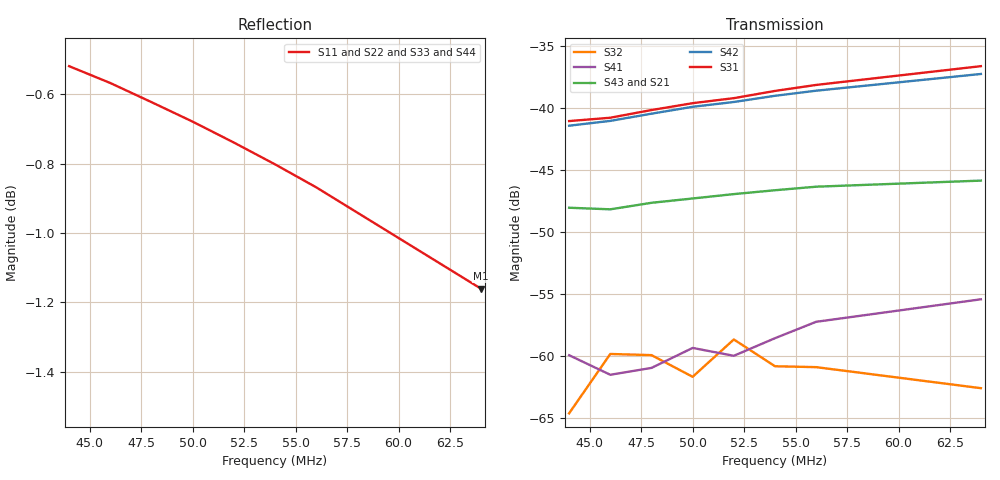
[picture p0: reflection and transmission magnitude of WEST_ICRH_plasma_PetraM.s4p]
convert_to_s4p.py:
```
# -*- coding: utf-8 -*-
"""
Transform the data from Matthew Poulos to skrf Network 
and save the data to a .s4p

also renumber the ports from


to :
    

@author: JH218595
"""
import numpy as np
import skrf as rf

freqs = 44, 46, 48, 50, 52, 54, 56, 64

s = np.array([
[[0.10306623382976188+0.9362827693505921j,
-0.0033077697136587947+0.001207223864262811j,
-0.00901448467051647+0.0010342433732492009j,
0.0011238060301676674-0.0004686267744629394j],
[-0.0038791456392482126+0.0006122519620864837j,
0.09940932941799516+0.9371526856173245j,
3.311151983388873e-05-0.00028803149144998553j,
-0.008653072256978537+0.0005245331077326936j],
[-0.008807137836337292+0.0010868415483368226j,
-0.0002722894025221511-0.0005202037254689065j,
0.1002602148124282+0.9364247463007395j,
-0.0033792566985963025+0.001222675696078806j],
[0.0009967994056500013-0.00014542129544378116j,
-0.008480008347233708+0.0005863683943201266j,
-0.003926970943646781+0.0005584146540703849j,
0.10203037148246516+0.9369606926276788j]], 
     [[0.03548604748379209+0.9360201088632061j,
-0.0033524050985618056+0.0005849128906480319j,
 -0.00936460367705241+1.9492200035470805e-05j,
0.0006951076610323441-2.6564926142897465e-05j],
[-0.0039012514569133445+0.00021988990298935107j,
0.03176637968540171+0.9365214455145403j,
-0.0004722150093736199-6.737235382193695e-05j,
-0.009040340248629338-0.0003871628471940302j],
[-0.009152446838907249+0.00014836299555654866j,
-0.0010040887576918624-0.00017473469196050548j,
0.032617549613970266+0.9358622953259773j,
-0.0033820241144343604+0.0005756149375179742j],
[0.0008370835413790198+7.124309818854754e-05j,
-0.008884040388421346-0.0003006944831304127j,
-0.0039020872109352014+0.0002131177615816217j,
0.03436898642367637+0.9365881971039101j]],
     [[-0.03205308721841798+0.9302195435372731j,
-0.0036406135750581643+0.0004600274862158804j,
-0.01001029179980915-0.0006316445715763025j,
0.0008541828393849073-0.0002491663432146605j],
[-0.0041312257684202715-6.525743775220565e-05j,
-0.035952752460549374+0.9305901648750191j,
-0.0003600449784243366-0.0003113755529545523j,
-0.009603854603296557-0.0010903482890787203j],
[-0.00981830591134959-0.0005069465325308464j,
-0.0007834277764057564-0.0006345454765289362j,
-0.0349356215865685+0.929946218361455j,
-0.0036756040725921353+0.0004779129919494514j],
[0.0008950424280516555-1.7939382923829312e-05j,
-0.009450217823860135-0.0010021610727370279j,
-0.004151714514241797-4.906677640058192e-05j,
-0.03329966064159599+0.9307418879559434j]],
     [[-0.09922825500116397+0.9194308429229794j,
-0.003806143824741715-2.5894370894704014e-05j,
-0.010552877138398814-0.0017752693715757332j,
0.0010228279605812636+9.485658381916962e-05j],
[-0.004245698080472457-0.0004882276056610946j,
-0.10338323999490796+0.9195168587716811j,
-0.0003234622869914084-0.00017190775392005066j,
-0.010071206713857153-0.002186220484661762j],
[-0.010358911586178025-0.0015910470680656958j,
-0.0007380870013331697-0.0003672032859388213j,
-0.10225759990420434+0.9189791918398243j,
-0.0038721864569115968-2.5088385603363873e-05j],
[0.0010653428256420887+0.00016398231030704624j,
-0.009920297245547076-0.0020602097514950605j,
-0.004295054194378783-0.0004855180560759876j,
-0.10060142177657524+0.9198813294225298j]],
     [[-0.1657553644509124+0.9033061109431264j,
-0.0038818435397758896-0.00020802275956712148j,
-0.010835328768341776-0.0026853027378182766j,
0.000856779524074514+3.399758986209127e-05j],
[-0.0043562340858039-0.0008289483308629296j,
-0.17006957114267332+0.9030217144009475j,
-0.0003868365357267479-0.0003270441233105128j,
-0.010278755282567508-0.0031619975399619416j],
[-0.010689068067783707-0.0025056557900391264j,
-0.000871298889192824-0.0007752370719971486j,
-0.16877095803699768+0.902546772497637j,
-0.003974885979325136-0.00021713053758058132j],
[0.0009657124052357103+0.00026713790929336947j,
-0.010149644074467092-0.0030389924901156043j,
-0.004416648944113895-0.0008715482518309309j,
-0.16729274045414103+0.9036625038363473j]],
     [[-0.2310718410382077+0.8820043739968823j,
-0.004093960124234218-0.0006200526148463913j,
-0.011343720574743305-0.00380507852839363j,
0.0012076544278002339+3.084717397920491e-05j],
[-0.004443455444908074-0.0012566468770991125j,
-0.23547547483796424+0.8813531198707243j,
-0.00023075080632371545-0.0003538587625655057j,
-0.010570792158330594-0.004270921123173072j],
[-0.011172157789000195-0.0036138439937617194j,
-0.00047002494816276525-0.000778364995629136j,
-0.2340239335746556+0.8810826010702554j,
-0.004226161586926116-0.0007078803042590007j],
[0.0011546986590566055+0.0002433588545568736j,
-0.010438673509026941-0.00412053628808381j,
-0.004469174108401341-0.0013422735612400026j,
-0.23273266174662932+0.8821995621215281j]],
     [[-0.2948260805818151+0.8554721446445313j,
-0.004130405281188439-0.0009319792373357285j,
-0.011515690327910088-0.00518609391682273j,
0.0012296652693744138+0.0004081614221741193j],
[-0.004517120588551889-0.0016942286825343818j,
-0.2993051137408766+0.854371901527771j,
-0.0001867075342564552-0.00030084708892288335j,
-0.010572970648598847-0.005499479784349751j],
[-0.011373022136665373-0.004979395426629645j,
-0.0005352724486872493-0.0007256476021705949j,
-0.29779912372875816+0.854322095395929j,
-0.004192827588292094-0.001123964515874762j],
[0.001242643164079918+0.0005869968923126671j,
-0.010473527893140029-0.005363656941458679j,
-0.004479846073671697-0.001785930422716868j,
-0.29662187806791745+0.8555213595473691j]],
     [[-0.5252121854452944+0.6997681177545608j,
-0.0039394710873457105-0.0029275591544705476j,
-0.01038405040617585-0.01095708106340377j,
0.0008491513405692433+0.001034687804889071j],
[-0.0037358328298869-0.0035862143040688707j,
-0.5291050648278515+0.6969645167337252j,
-0.00026590126073295636+9.483491547973723e-05j,
-0.009386605873037844-0.010457395437579736j],
[-0.01035140658376791-0.01054907952578932j,
-0.0005116494908328424-0.0005369661364062307j,
-0.5279365678098452+0.6976438682905035j,
-0.0036098732175834218-0.002981148168492409j],
[0.0009803917266615497+0.0013812995949215557j,
-0.009284295781431025-0.010136129335480276j,
-0.00358683478046693-0.0036300600289364006j,
-0.527141891342112+0.6985804046048265j]]
     ])

freqs = rf.Frequency.from_f(freqs, unit='MHz')
ntw = rf.Network(frequency=freqs)
ntw.s = s

# define z0
ntw.z0 = 46.6

# export .s4p
ntw.write_touchstone('WEST_ICRH_plasma_PetraM.s4p', write_z0=True)
```
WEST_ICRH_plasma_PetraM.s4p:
!Created with skrf (http://scikit-rf.org).
# MHz S RI R 46.6
!freq ReS11 ImS11 ReS12 ImS12 ReS13 ImS13
! ReS14 ImS14
! ReS21 ImS21 ReS22 ImS22 ReS23 ImS23
! ReS24 ImS24
! ReS31 ImS31 ReS32 ImS32 ReS33 ImS33
! ReS34 ImS34
! ReS41 ImS41 ReS42 ImS42 ReS43 ImS43
! ReS44 ImS44
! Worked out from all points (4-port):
!   8 points, 44 MHz to 64 MHz, reference 46.6 ohm
!   strongest paths, dB at 44 MHz, 48 MHz, 52 MHz, 56 MHz, 64 MHz:
!     S31: -41.0, -40.1, -39.2, -38.1, -36.6
!     S42: -41.4, -40.4, -39.5, -38.6, -37.2
!     S43: -48.0, -47.6, -46.9, -46.3, -45.8
!     S21: -48.1, -47.7, -47.1, -46.3, -45.7
!     S41: -59.9, -61.0, -60.0, -57.2, -55.4
!     S32: -64.6, -59.9, -58.7, -60.9, -62.6
!   lowest |S11| = -1.2 dB at 64 MHz (marker M1), VSWR 14.99, Z = 3.88 + j23.2 ohm
!   |S11| at or under -10 dB: nowhere
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44  0.1031 0.9363  -0.00331 0.00121  -0.00901 0.00103  0.00112 -0.000469
    -0.00388 0.000612  0.0994 0.9372  3.31e-05 -0.000288  -0.00865 0.000525
    -0.00881 0.00109  -0.000272 -0.00052  0.1003 0.9364  -0.00338 0.00122
    0.000997 -0.000145  -0.00848 0.000586  -0.00393 0.000558  0.102 0.937
52  -0.1658 0.9033  -0.00388 -0.000208  -0.0108 -0.00269  0.000857 3.4e-05
    -0.00436 -0.000829  -0.1701 0.903  -0.000387 -0.000327  -0.0103 -0.00316
    -0.0107 -0.00251  -0.000871 -0.000775  -0.1688 0.9025  -0.00397 -0.000217
    0.000966 0.000267  -0.0101 -0.00304  -0.00442 -0.000872  -0.1673 0.9037
64  -0.5252 0.6998  -0.00394 -0.00293  -0.0104 -0.011  0.000849 0.00103
    -0.00374 -0.00359  -0.5291 0.697  -0.000266 9.48e-05  -0.00939 -0.0105
    -0.0104 -0.0105  -0.000512 -0.000537  -0.5279 0.6976  -0.00361 -0.00298
    0.00098 0.00138  -0.00928 -0.0101  -0.00359 -0.00363  -0.5271 0.6986
